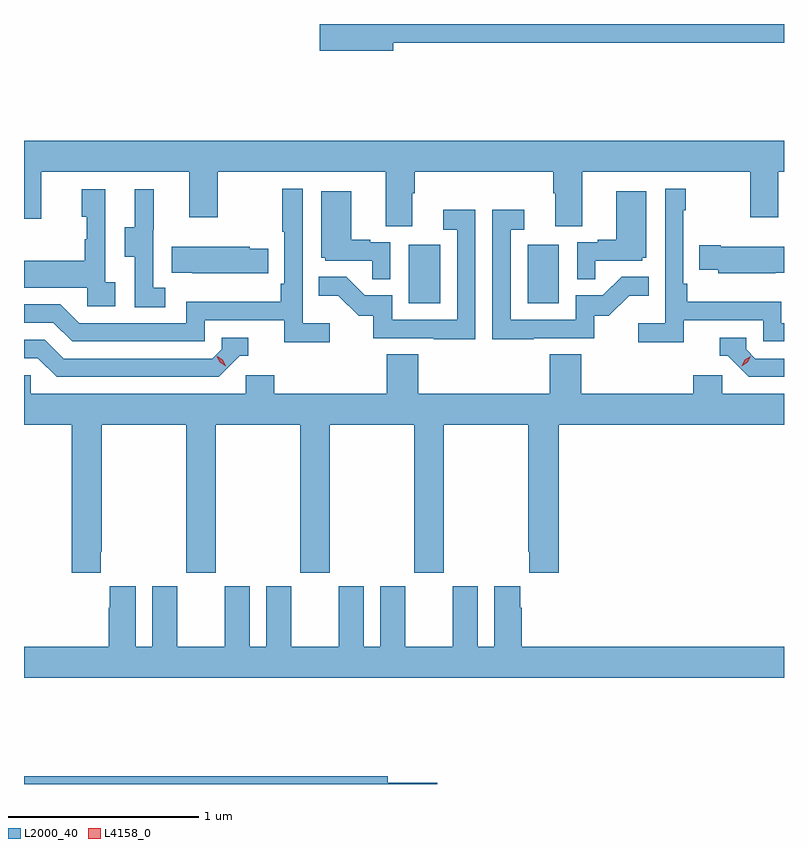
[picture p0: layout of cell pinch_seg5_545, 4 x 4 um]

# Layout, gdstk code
import gdstk
lib = gdstk.Library(unit=1e-6, precision=1e-09)
def R(c, l, rs):  # rectangles x0, y0, x1, y1
    for r in rs: c.add(gdstk.rectangle(r[:2], r[2:], *l))
def P(c, l, *ps):  # polygons
    for p in ps: c.add(gdstk.Polygon(p, *l))
L2000_40 = (2000, 40)
L4158_0 = (4158, 0)

pinch_seg5_545 = lib.new_cell('pinch_seg5_545')
R(pinch_seg5_545, L2000_40, [(972.332,842.748,972.496,843.055), (972.956,842.748,973.12,843.055)])
P(pinch_seg5_545, L2000_40, [(972.25,844.12),(974.306,844.12),(974.306,844.218),(971.862,844.218),(971.862,844.078),(972.25,844.078)],
  [(972.349,843.328),(972.362,843.328),(972.362,843.44),(973.091,843.44),(973.091,843.328),(973.103,843.328),(973.103,843.154),(973.243,843.154),(973.243,843.44),(974.128,843.44),(974.128,843.201),(974.275,843.201),(974.275,843.44),(974.306,843.44),(974.306,843.604),(970.306,843.604),(970.306,843.192),(970.397,843.192),(970.397,843.44),(971.177,843.44),(971.177,843.201),(971.325,843.201),(971.325,843.44),(972.209,843.44),(972.209,843.154),(972.349,843.154)],
  [(973.778,842.658),(974.196,842.658),(974.196,842.547),(974.306,842.547),(974.306,842.643),(974.292,842.643),(974.292,842.755),(973.796,842.755),(973.796,842.851),(973.776,842.851),(973.776,843.239),(973.789,843.239),(973.789,843.352),(973.68,843.352),(973.68,842.644),(973.539,842.644),(973.539,842.542),(973.778,842.542)],
  [(971.914,842.644),(971.772,842.644),(971.772,843.352),(971.664,843.352),(971.664,843.124),(971.676,843.124),(971.676,842.851),(971.656,842.851),(971.656,842.755),(971.16,842.755),(971.16,842.643),(970.596,842.643),(970.497,842.742),(970.306,842.742),(970.306,842.646),(970.46,842.646),(970.559,842.547),(971.256,842.547),(971.256,842.658),(971.675,842.658),(971.675,842.542),(971.914,842.542)],
  [(970.786,842.858),(970.734,842.858),(970.734,843.349),(970.61,843.349),(970.61,843.204),(970.636,843.204),(970.636,843.086),(970.626,843.086),(970.626,842.971),(970.306,842.971),(970.306,842.831),(970.638,842.831),(970.638,842.733),(970.786,842.733)],
  [(971.05,842.831),(970.986,842.831),(970.986,843.135),(970.988,843.135),(970.988,843.349),(970.889,843.349),(970.889,843.147),(970.835,843.147),(970.835,842.992),(970.89,842.992),(970.89,842.728),(971.05,842.728)],
  [(972.234,843.069),(972.128,843.069),(972.128,843.082),(972.028,843.082),(972.028,843.337),(971.87,843.337),(971.87,842.988),(971.892,842.988),(971.892,842.973),(972.139,842.973),(972.139,842.875),(972.234,842.875)],
  [(973.313,842.973),(973.56,842.973),(973.56,842.988),(973.582,842.988),(973.582,843.337),(973.424,843.337),(973.424,843.082),(973.325,843.082),(973.325,843.069),(973.218,843.069),(973.218,842.875),(973.313,842.875)],
  [(972.681,843.241),(972.513,843.241),(972.513,843.135),(972.585,843.135),(972.585,842.661),(972.243,842.661),(972.243,842.79),(972.099,842.79),(972.001,842.888),(971.857,842.888),(971.857,842.789),(971.961,842.789),(972.068,842.682),(972.145,842.682),(972.145,842.565),(972.463,842.565),(972.463,842.56),(972.681,842.56)],
  [(972.989,842.565),(973.308,842.565),(973.308,842.682),(973.384,842.682),(973.491,842.789),(973.595,842.789),(973.595,842.888),(973.451,842.888),(973.353,842.79),(973.209,842.79),(973.209,842.661),(972.867,842.661),(972.867,843.135),(972.94,843.135),(972.94,843.241),(972.771,843.241),(972.771,842.56),(972.989,842.56)],
  [(974.261,842.909),(974.306,842.909),(974.306,843.046),(973.972,843.046),(973.972,843.054),(973.861,843.054),(973.861,842.924),(973.959,842.924),(973.959,842.906),(974.261,842.906)],
  [(971.591,843.036),(971.493,843.036),(971.493,843.046),(971.083,843.046),(971.083,842.909),(971.191,842.909),(971.191,842.906),(971.591,842.906)],
  [(974.306,842.457),(974.154,842.457),(974.106,842.505),(974.106,842.568),(973.967,842.568),(973.967,842.472),(974.01,842.472),(974.121,842.361),(974.306,842.361)],
  [(971.442,842.472),(971.485,842.472),(971.485,842.568),(971.346,842.568),(971.346,842.505),(971.298,842.457),(970.515,842.457),(970.416,842.556),(970.306,842.556),(970.306,842.46),(970.379,842.46),(970.478,842.361),(971.331,842.361)],
  [(970.711,841.441),(970.716,841.441),(970.716,842.108),(971.161,842.108),(971.161,841.329),(971.316,841.329),(971.316,842.108),(971.761,842.108),(971.761,841.329),(971.916,841.329),(971.916,842.108),(972.361,842.108),(972.361,841.329),(972.516,841.329),(972.516,842.108),(972.961,842.108),(972.961,841.441),(972.965,841.441),(972.965,841.329),(973.121,841.329),(973.121,842.108),(974.306,842.108),(974.306,842.272),(973.98,842.272),(973.98,842.37),(973.829,842.37),(973.829,842.272),(973.238,842.272),(973.238,842.48),(973.073,842.48),(973.073,842.272),(972.38,842.272),(972.38,842.48),(972.215,842.48),(972.215,842.272),(971.624,842.272),(971.624,842.37),(971.472,842.37),(971.472,842.272),(970.341,842.272),(970.341,842.37),(970.306,842.37),(970.306,842.108),(970.556,842.108),(970.556,841.329),(970.711,841.329)],
  [(974.306,840.94),(972.926,840.94),(972.926,841.145),(972.919,841.145),(972.919,841.258),(972.782,841.258),(972.782,840.94),(972.694,840.94),(972.694,841.258),(972.563,841.258),(972.563,840.94),(972.313,840.94),(972.313,841.258),(972.182,841.258),(972.182,840.94),(972.094,840.94),(972.094,841.258),(971.963,841.258),(971.963,840.94),(971.713,840.94),(971.713,841.258),(971.582,841.258),(971.582,840.94),(971.494,840.94),(971.494,841.258),(971.363,841.258),(971.363,840.94),(971.113,840.94),(971.113,841.258),(970.982,841.258),(970.982,840.94),(970.894,840.94),(970.894,841.258),(970.757,841.258),(970.757,841.145),(970.751,841.145),(970.751,840.94),(970.306,840.94),(970.306,840.776),(974.306,840.776)],
  [(972.481,840.224),(972.22,840.224),(972.22,840.26),(970.306,840.26),(970.306,840.218),(972.481,840.218)])
P(pinch_seg5_545, L4158_0, [(974.083,842.418),(974.083,842.419),(974.1,842.451),(974.131,842.47),(974.131,842.47),(974.131,842.47),(974.115,842.437),(974.084,842.418)],
  [(971.368,842.418),(971.337,842.437),(971.321,842.47),(971.321,842.47),(971.322,842.47),(971.352,842.451),(971.368,842.418),(971.368,842.418)])

lib.write_gds('pinch_seg5_545.gds')
